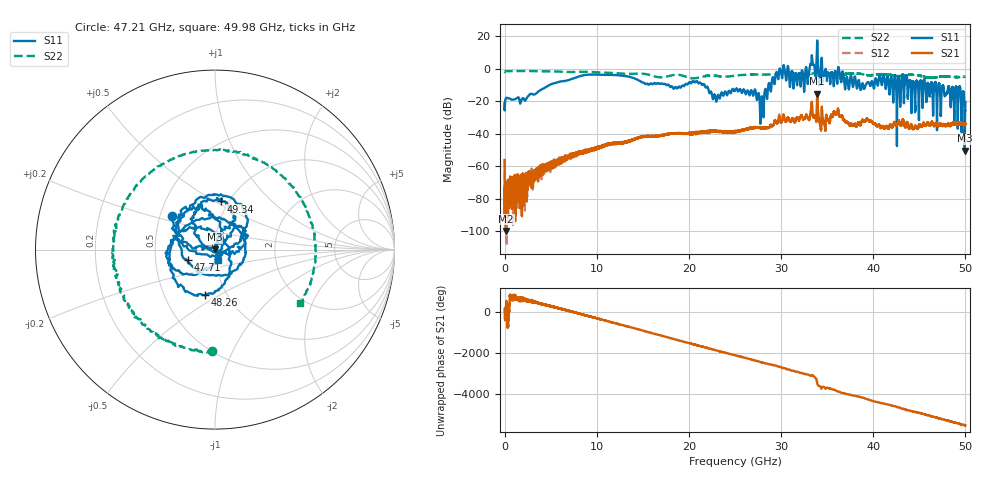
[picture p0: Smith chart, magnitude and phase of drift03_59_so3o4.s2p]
!Created with skrf (http://scikit-rf.org).
# Hz S RI R 50.0
!freq ReS11 ImS11 ReS21 ImS21 ReS12 ImS12 ReS22 ImS22
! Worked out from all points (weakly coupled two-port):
!   10001 points, 300 kHz to 50 GHz, reference 50 ohm
!   highest |S21| = -15.39 dB at 33.92 GHz (marker M1); lowest = -99.9 dB at 155.3 MHz (marker M2)
!   lowest |S11| = -50.4 dB at 49.93 GHz (marker M3), VSWR 1.01, Z = 49.9 + j0.263 ohm
!   |S11| at or under -10 dB: start of sweep to 4.849 GHz; 21.69 GHz to 28.62 GHz (6.932 GHz wide, 27.6 % of centre); 47.2 GHz to end of sweep (the widest 3 of 42)
!   |S22| runs from -5.9 to -1.3 dB; largest |S21 - S12| = 0.02
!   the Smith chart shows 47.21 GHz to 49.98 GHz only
!   S11 on the Smith chart (normalised r, x): 47.21 GHz: 0.58, +0.24; 47.71 GHz: 0.73, -0.09; 48.26 GHz: 0.80, -0.43; 49.34 GHz: 0.92, +0.53; 49.98 GHz: 1.03, -0.12
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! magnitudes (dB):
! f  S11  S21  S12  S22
! 300 kHz  -21.3  -56.1  -55.6  -2.0
! 155.3 MHz  -18.0  -99.9  -78.1  -1.5
! 8.335 GHz  -4.3  -51.4  -51.6  -1.9
! 16.67 GHz  -8.8  -41.6  -41.3  -5.2
! 21.01 GHz  -8.7  -39.6  -39.2  -5.5
! 22.81 GHz  -16.1  -38.5  -38.6  -4.2
! 25 GHz  -13.4  -38.7  -39.0  -4.3
! 27.02 GHz  -15.7  -36.3  -36.3  -3.5
! 27.92 GHz  -17.1  -36.2  -36.5  -3.5
! 29.69 GHz  -6.4  -32.2  -31.5  -3.1
! 32.32 GHz  -1.5  -30.4  -30.7  -3.3
! 33.34 GHz  8.0  -20.3  -20.9  -2.9
! 33.92 GHz  17.4  -15.4  -15.8  -2.5
! 38.82 GHz  -9.1  -31.4  -31.9  -3.3
! 41.67 GHz  -9.0  -36.8  -36.5  -3.7
! 47.21 GHz  -10.3  -34.1  -34.0  -4.9
! 47.71 GHz  -15.8  -34.4  -34.2  -4.8
! 48.26 GHz  -11.8  -34.2  -34.2  -5.0
! 49.34 GHz  -11.4  -34.0  -33.9  -5.1
! 49.93 GHz  -50.4  -33.9  -33.8  -5.0
! 49.98 GHz  -24.4  -34.3  -33.9  -5.0
! 50 GHz  -20.4  -33.9  -34.6  -5.0
